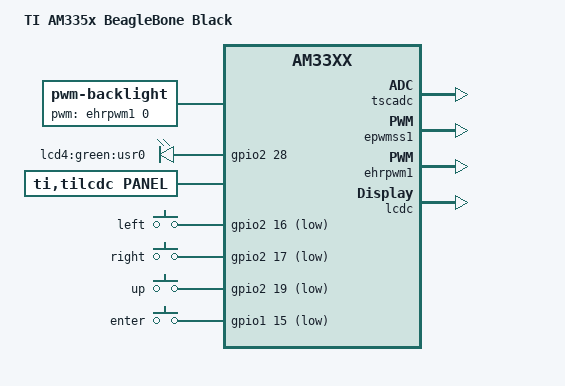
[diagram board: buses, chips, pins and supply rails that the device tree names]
/*
 * Copyright (C) 2012 Texas Instruments Incorporated - http://www.ti.com/
 *
 * This program is free software; you can redistribute it and/or modify
 * it under the terms of the GNU General Public License version 2 as
 * published by the Free Software Foundation.
 *
 * Copyright (C) 2019 Bootlin SAS - https://bootlin.com
 * Adapted from DT overlay sources for the LCD4 cape
 */
/dts-v1/;

#include "am33xx.dtsi"
#include "am335x-bone-common.dtsi"
#include "am335x-boneblack-common.dtsi"

/ {
	compatible = "ti,am335x-bone-black", "ti,am335x-bone", "ti,am33xx";
	serial-number = "4014BBBK0495";
	model = "TI AM335x BeagleBone Black";

			backlight {
				compatible      = "pwm-backlight";
				pinctrl-names   = "default";
				pinctrl-0       = <&bb_lcd_pwm_backlight_pins>;

				pwms = <&ehrpwm1 0 500000 0>;
				pwm-names = "LCD4";
				brightness-levels = <0 1 2 3 4 5 6 7 8 9 10 11 12 13 14 15 16 17 18 19 20 21 22 23 24 25 26 27 28 29 30 31 32 33 34 35 36 37 38 39 40 41 42 43 44 45 46 47 48 49 50 51 52 53 54 55 56 57 58 59 60 61 62 63 64 65 66 67 68 69 70 71 72 73 74 75 76 77 78 79 80 81 82 83 84 85 86 87 88 89 90 91 92 93 94 95 96 97 98 99 100>;
				default-brightness-level = <100>; /* index to the array above */
				status = "okay";
			};

			gpio-leds-cape-lcd4 {
				compatible = "gpio-leds";
				pinctrl-names = "default";

				pinctrl-0 = <&bb_lcd_led_pins>;

				lcd4-led0 {
					label = "lcd4:green:usr0";
					gpios = <&gpio2 28 0>;
					linux,default-trigger = "heartbeat";
					default-state = "off";
				};

			};

			/* Settings for NHD-4.3-ATXI#-T-1 / LCD4 cape: */
			panel {
				compatible = "ti,tilcdc,panel";
				pinctrl-names = "default";
				pinctrl-0 = <&bb_lcd_lcd_pins>;
				status = "okay";
				panel-info {
					ac-bias           = <255>;
					ac-bias-intrpt    = <0>;
					dma-burst-sz      = <16>;
					bpp               = <16>;
					fdd               = <0x80>;
					sync-edge         = <0>;
					sync-ctrl         = <1>;
					raster-order      = <0>;
					fifo-th           = <0>;
				};
				display-timings {
					native-mode = <&timing0>;
					timing0: 480x272 {
						clock-frequency = <9200000>;
						hactive = <480>;
						vactive = <272>;
						hfront-porch = <8>;
						hback-porch = <47>;
						hsync-len = <41>;
						vback-porch = <2>;
						vfront-porch = <3>;
						vsync-len = <10>;
						hsync-active = <0>;
						vsync-active = <0>;
						de-active = <1>;
						pixelclk-active = <0>;
					};
				};
			};

			tscadc {
				compatible = "ti,ti-tscadc";
				reg = <0x44e0d000 0x1000>;

				interrupt-parent = <&intc>;
				interrupts = <16>;
				ti,hwmods = "adc_tsc";
				status = "okay";

				tsc {
					ti,wires = <4>;
					ti,x-plate-resistance = <200>;
					ti,coordinate-readouts = <5>;
					ti,wire-config = <0x00 0x11 0x22 0x33>;
				};

				adc {
					ti,adc-channels = <4 5 6 7>;
				};
			};

			gpio_keys {
				compatible = "gpio-keys";
				pinctrl-names = "default";
				pinctrl-0 = <&bb_lcd_keymap_pins>;

				#address-cells = <1>;
				#size-cells = <0>;

				button@1 {
					debounce_interval = <50>;
					linux,code = <105>;
					label = "left";
					gpios = <&gpio2 16 0x1>;
					gpio-key,wakeup;
					autorepeat;
				};
				button@2 {
					debounce_interval = <50>;
					linux,code = <106>;
					label = "right";
					gpios = <&gpio2 17 0x1>;
					gpio-key,wakeup;
					autorepeat;
				};
				button@3 {
					debounce_interval = <50>;
					linux,code = <103>;
					label = "up";
					gpios = <&gpio2 19 0x1>;
					gpio-key,wakeup;
					autorepeat;
				};
				/*
				button@4 {
					debounce_interval = <50>;
					linux,code = <108>;
					label = "down";
					gpios = <&gpio4 16 0x1>;
					gpio-key,wakeup;
					autorepeat;
				};
				*/
				button@5 {
					debounce_interval = <50>;
					linux,code = <28>;
					label = "enter";
					gpios = <&gpio1 15 0x1>;
					gpio-key,wakeup;
				};
			};

};

&cpu0_opp_table {
	/*
	 * All PG 2.0 silicon may not support 1GHz but some of the early
	 * BeagleBone Blacks have PG 2.0 silicon which is guaranteed
	 * to support 1GHz OPP so enable it for PG 2.0 on this board.
	 */
	oppnitro-1000000000 {
		opp-supported-hw = <0x06 0x0100>;
	};
};

&am33xx_pinmux {
			bb_lcd_led_pins: pinmux_bb_lcd_led_pins {
				pinctrl-single,pins = <
					0x078 (PIN_INPUT | MUX_MODE7)	/* P9_12: gpmc_ben1.gpio1_28, INPUT | PULLDIS | MODE7 */
				>;
			};

			bb_lcd_pwm_backlight_pins: pinmux_bb_lcd_pwm_backlight_pins {
				pinctrl-single,pins = <
					0x048 (PIN_OUTPUT_PULLDOWN | MUX_MODE6)	/* P9_14: gpmc_a2.ehrpwm1a */
				>;
			};

			bb_lcd_lcd_pins: pinmux_bb_lcd_lcd_pins {
				pinctrl-single,pins = <
					0x1A4 (PIN_OUTPUT_PULLUP | MUX_MODE7)	/* P9_27: mcasp0_fsr.gpio3_19 */
					0x0A0 (PIN_OUTPUT | MUX_MODE0)		/* P8_45: lcd_data0.lcd_data0 */
					0x0A4 (PIN_OUTPUT | MUX_MODE0)	/* P8_46: lcd_data1.lcd_data1 */
					0x0A8 (PIN_OUTPUT | MUX_MODE0)	/* P8_43: lcd_data2.lcd_data2 */
					0x0AC (PIN_OUTPUT | MUX_MODE0)	/* P8_44: lcd_data3.lcd_data3 */
					0x0B0 (PIN_OUTPUT | MUX_MODE0)	/* P8_41: lcd_data4.lcd_data4 */
					0x0B4 (PIN_OUTPUT | MUX_MODE0)	/* P8_42: lcd_data5.lcd_data5 */
					0x0B8 (PIN_OUTPUT | MUX_MODE0)	/* P8_39: lcd_data6.lcd_data6 */
					0x0BC (PIN_OUTPUT | MUX_MODE0)	/* P8_40: lcd_data7.lcd_data7 */
					0x0C0 (PIN_OUTPUT | MUX_MODE0)	/* P8_37: lcd_data8.lcd_data8 */
					0x0C4 (PIN_OUTPUT | MUX_MODE0)	/* P8_38: lcd_data9.lcd_data9 */
					0x0C8 (PIN_OUTPUT | MUX_MODE0)	/* P8_36: lcd_data10.lcd_data10 */
					0x0CC (PIN_OUTPUT | MUX_MODE0)	/* P8_34: lcd_data11.lcd_data11 */
					0x0D0 (PIN_OUTPUT | MUX_MODE0)	/* P8_35: lcd_data12.lcd_data12 */
					0x0D4 (PIN_OUTPUT | MUX_MODE0)	/* P8_33: lcd_data13.lcd_data13 */
					0x0D8 (PIN_OUTPUT | MUX_MODE0)	/* P8_31: lcd_data14.lcd_data14 */
					0x0DC (PIN_OUTPUT | MUX_MODE0)	/* P8_32: lcd_data15.lcd_data15 */
					0x0E0 (PIN_OUTPUT | MUX_MODE0)	/* P8_27: lcd_vsync.lcd_vsync */
					0x0E4 (PIN_OUTPUT | MUX_MODE0)	/* P8_29: lcd_hsync.lcd_hsync */
					0x0E8 (PIN_OUTPUT | MUX_MODE0)	/* P8_28: lcd_pclk.lcd_pclk */
					0x0EC (PIN_OUTPUT | MUX_MODE0)	/* P8_30: lcd_ac_bias_en.lcd_ac_bias_en */

					// Bootlin: use idle pin as custom GPIO
					0x074 (PIN_OUTPUT | MUX_MODE7)	/* P9_13: uart4_txd_txd.gpio0_31 */
				>;
			};

			bb_lcd_keymap_pins: pinmux_bb_lcd_keymap_pins {
				pinctrl-single,pins = <
					0x040 (PIN_INPUT | MUX_MODE7)	/* P9_15: gpmc_a0.gpio1_16 */
					0x044 (PIN_INPUT | MUX_MODE7)	/* P9_23: gpmc_a1.gpio1_17 */
					0x04C (PIN_INPUT | MUX_MODE7)	/* P9_16: gpmc_a3.gpio1_19 */
					0x198 (PIN_INPUT | MUX_MODE7)	/* P9_30: mcasp0_axr0.gpio3_16 */
					0x184 (PIN_INPUT | MUX_MODE7)	/* P9_24: uart1_txd.gpio0_15 */
				>;
			};

};

&epwmss1 {
			status = "okay";
};

&ehrpwm1 {
			status = "okay";
			/* Don't add pin settings here, this breaks the backlight */
			//pinctrl-0 = <&bb_lcd_pwm_backlight_pins>;
			//pinctrl-names = "default";
};

&lcdc {
			status = "okay";
};
